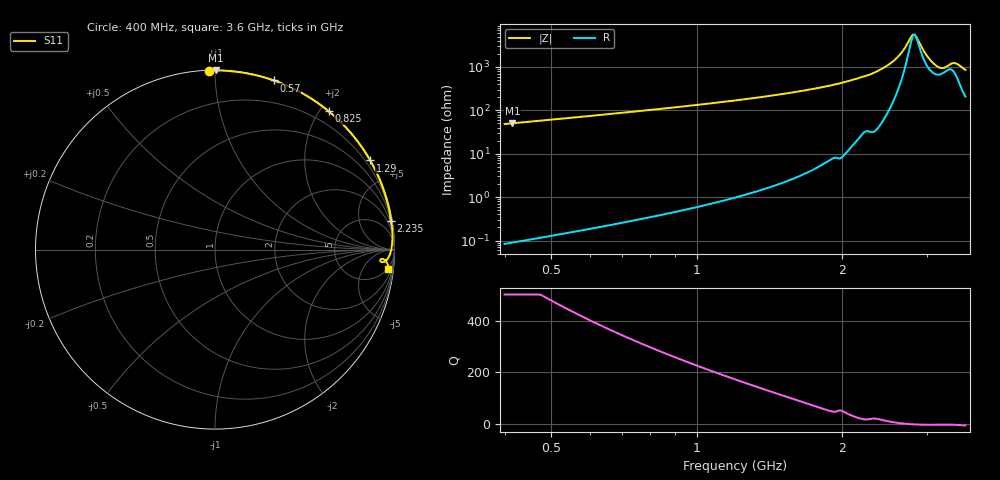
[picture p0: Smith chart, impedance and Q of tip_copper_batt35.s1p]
! tip_copper_batt35
! simulated by sim/rf_fdtd.py
# HZ S RI R 50
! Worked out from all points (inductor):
!   641 points, 400 MHz to 3.6 GHz, reference 50 ohm
!   read as one part to ground: L = 18.8 nH near 415 MHz
!   highest Q = 562 at 415 MHz (marker M1), where L = 19.3 nH
!   self-resonance near 2.827 GHz
!   S11 on the Smith chart (normalised r, x): 400 MHz: 0.00, +0.97; 570 MHz: 0.00, +1.41; 825 MHz: 0.01, +2.12; 1.29 GHz: 0.02, +3.75; 2.235 GHz: 1, +12; 3.6 GHz: 4, -17
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4e8  -0.0313 0.9978
4.15e8  0.00674 0.9982
4.9e8  0.1779 0.982
5.7e8  0.3273 0.9425
6.25e8  0.4127 0.9083
6.8e8  0.486 0.8711
7.4e8  0.5543 0.8293
8e8  0.6122 0.7873
8.25e8  0.6338 0.77
9.05e8  0.694 0.7161
9.95e8  0.7486 0.6587
1.095e9  0.7967 0.5993
1.2e9  0.8366 0.542
1.29e9  0.8642 0.4967
1.435e9  0.8989 0.4302
1.6e9  0.9277 0.3629
2e9  0.9695 0.2264
2.235e9  0.9788 0.1588
2.4e9  0.9874 0.1136
2.8e9  0.9834 0.00709
2.955e9  0.9721 -0.0327
3.075e9  0.9537 -0.0603
3.14e9  0.9386 -0.069
3.2e9  0.9248 -0.0679
3.27e9  0.9207 -0.057
3.365e9  0.9391 -0.0535
3.48e9  0.96 -0.0768
3.6e9  0.966 -0.1096
